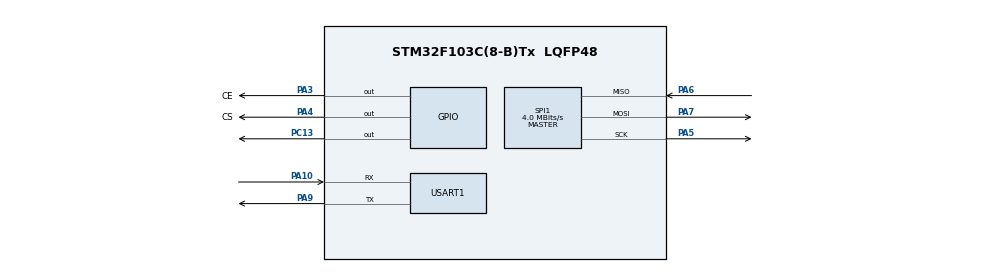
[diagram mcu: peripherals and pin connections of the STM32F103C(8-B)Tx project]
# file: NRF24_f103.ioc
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Mcu.Family=STM32F1
Mcu.Name=STM32F103C(8-B)Tx
Mcu.Package=LQFP48
NVIC.PriorityGroup=NVIC_PRIORITYGROUP_4
NVIC.USART1_IRQn=true\:0\:0\:false\:false\:true\:true
PA10.Mode=Asynchronous
PA10.Signal=USART1_RX
PA13.Mode=Serial_Wire
PA13.Signal=SYS_JTMS-SWDIO
PA14.Mode=Serial_Wire
PA14.Signal=SYS_JTCK-SWCLK
PA3.GPIO_Label=CE
PA3.Signal=GPIO_Output
PA4.GPIO_Label=CS
PA4.Signal=GPIO_Output
PA5.Mode=Full_Duplex_Master
PA5.Signal=SPI1_SCK
PA6.Mode=Full_Duplex_Master
PA6.Signal=SPI1_MISO
PA7.Mode=Full_Duplex_Master
PA7.Signal=SPI1_MOSI
PA9.Mode=Asynchronous
PA9.Signal=USART1_TX
PC13-TAMPER-RTC.Signal=GPIO_Output
PD0-OSC_IN.Mode=HSE-External-Oscillator
PD0-OSC_IN.Signal=RCC_OSC_IN
PD1-OSC_OUT.Mode=HSE-External-Oscillator
PD1-OSC_OUT.Signal=RCC_OSC_OUT
ProjectManager.HeapSize=0x200
ProjectManager.StackSize=0x800
ProjectManager.TargetToolchain=MDK-ARM V5
RCC.APB1Freq_Value=8000000
RCC.APB2Freq_Value=8000000
SPI1.CalculateBaudRate=4.0 MBits/s
SPI1.Direction=SPI_DIRECTION_2LINES
SPI1.Mode=SPI_MODE_MASTER
SPI1.VirtualType=VM_MASTER
USART1.VirtualMode=VM_ASYNC
board=custom

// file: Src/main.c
/**
  ******************************************************************************
  * @file           : main.c
  * @brief          : Main program body
  ******************************************************************************
  ** This notice applies to any and all portions of this file
  * that are not between comment pairs USER CODE BEGIN and
  * USER CODE END. Other portions of this file, whether
  * inserted by the user or by software development tools
  * are owned by their respective copyright owners.
  *
  * COPYRIGHT(c) 2021 STMicroelectronics
  *
  * Redistribution and use in source and binary forms, with or without modification,
  * are permitted provided that the following conditions are met:
  *   1. Redistributions of source code must retain the above copyright notice,
  *      this list of conditions and the following disclaimer.
  *   2. Redistributions in binary form must reproduce the above copyright notice,
  *      this list of conditions and the following disclaimer in the documentation
  *      and/or other materials provided with the distribution.
  *   3. Neither the name of STMicroelectronics nor the names of its contributors
  *      may be used to endorse or promote products derived from this software
  *      without specific prior written permission.
  *
  * THIS SOFTWARE IS PROVIDED BY THE COPYRIGHT HOLDERS AND CONTRIBUTORS "AS IS"
  * AND ANY EXPRESS OR IMPLIED WARRANTIES, INCLUDING, BUT NOT LIMITED TO, THE
  * IMPLIED WARRANTIES OF MERCHANTABILITY AND FITNESS FOR A PARTICULAR PURPOSE ARE
  * DISCLAIMED. IN NO EVENT SHALL THE COPYRIGHT HOLDER OR CONTRIBUTORS BE LIABLE
  * FOR ANY DIRECT, INDIRECT, INCIDENTAL, SPECIAL, EXEMPLARY, OR CONSEQUENTIAL
  * DAMAGES (INCLUDING, BUT NOT LIMITED TO, PROCUREMENT OF SUBSTITUTE GOODS OR
  * SERVICES; LOSS OF USE, DATA, OR PROFITS; OR BUSINESS INTERRUPTION) HOWEVER
  * CAUSED AND ON ANY THEORY OF LIABILITY, WHETHER IN CONTRACT, STRICT LIABILITY,
  * OR TORT (INCLUDING NEGLIGENCE OR OTHERWISE) ARISING IN ANY WAY OUT OF THE USE
  * OF THIS SOFTWARE, EVEN IF ADVISED OF THE POSSIBILITY OF SUCH DAMAGE.
  *
  ******************************************************************************
  */
#include "main.h"
#include "stm32f1xx_hal.h"
#include "spi.h"
#include "usart.h"
#include "gpio.h"

/* USER CODE BEGIN Includes */
#include <stdio.h>
#include <string.h>
#include "NRF24l01.h"
/* USER CODE END Includes */

/* USER CODE BEGIN PV */
/* Private variables ---------------------------------------------------------*/
struct structPackage{			// Size should not exceed 32Bytes
	uint8_t xAxis;
	uint8_t yAxis;
	uint8_t zAxis;
	uint8_t text[28];

} txPackage;

uint8_t pipeOut[] = { 0xE7, 0xE6, 0xE5, 0xE4, 0xE3 };
/* USER CODE END PV */

void SystemClock_Config(void);

/* USER CODE BEGIN PFP */
/* Private function prototypes -----------------------------------------------*/

/* USER CODE END PFP */

int main(void)
{

  /* MCU Configuration----------------------------------------------------------*/

  /* Reset of all peripherals, Initializes the Flash interface and the Systick. */
  HAL_Init();

  /* Configure the system clock */
  SystemClock_Config();

  /* Initialize all configured peripherals */
  MX_GPIO_Init();
  MX_USART1_UART_Init();
  MX_SPI1_Init();
  /* USER CODE BEGIN 2 */
// ====================== NRF24L01 Tx module setup =============================
	// Need to declare pins and ports of nrf24l01
	NRF24L01_Pins_t NRF24L01_Pins;

	NRF24L01_Pins.CE.GPIOx = GPIOA;
	NRF24L01_Pins.CE.GPIO_Pin = GPIO_PIN_3;
	NRF24L01_Pins.CSN.GPIOx = GPIOA;								// Declara pinos especificos da spi
	NRF24L01_Pins.CSN.GPIO_Pin = GPIO_PIN_4;
	NRF24L01_Pins.IRQ.GPIOx = NULL;									// Interrupt pin is not used yet
	NRF24L01_Pins.IRQ.GPIO_Pin = NULL;
	NRF24L01_Pins.MISO.GPIOx = GPIOA;
	NRF24L01_Pins.MISO.GPIO_Pin = GPIO_PIN_6;
	NRF24L01_Pins.MOSI.GPIOx = GPIOA;
	NRF24L01_Pins.MOSI.GPIO_Pin = GPIO_PIN_7;
	NRF24L01_Pins.SCK.GPIOx = GPIOA;
	NRF24L01_Pins.SCK.GPIO_Pin = GPIO_PIN_5;

	uint8_t channel = 80;											// Channel(decimal)
	uint8_t payload = sizeof(txPackage);

	/* By default 2Mbps data rate and 0dBm output power */
  NRF24L01_Init( channel, payload, &hspi1, NRF24L01_Pins );
	NRF24L01_SetRF( NRF24L01_DataRate_1M, NRF24L01_OutputPower_0dBm);

	/* Enable auto acknolodgment */
	NRF24L01_SetAutoAck(0xFF, 0);

	/* Enable CRC 2bytes */
	NRF24L01_SetCrcLength( NRF24L01_CRC_16 );

	NRF24L01_TestCarrier();

	/* Open a writing pipe with an address*/
	/* Open a reading pipe with an address*/
	NRF24L01_OpenReadingPipe(1, pipeOut);
	HAL_Delay(1);

	NRF24L01_StartListening();
	HAL_Delay(1);
// ====================== NRF24L01 Tx module setup end ==========================

	uint32_t received_at = 0;					// hold the time of last transmission

	uint32_t value = 0;

	txPackage.xAxis = 0;
	txPackage.yAxis = 0;
	txPackage.zAxis = 0;
	memset( &txPackage.text, '\0', sizeof(txPackage.text)); // clean variables

	uint8_t cont = 0;
	uint8_t strOut[256];

	HAL_GPIO_WritePin(GPIOC, GPIO_PIN_13, GPIO_PIN_SET);
	HAL_Delay(50);
	HAL_GPIO_WritePin(GPIOC, GPIO_PIN_13, GPIO_PIN_RESET);
	HAL_Delay(50);
	HAL_GPIO_WritePin(GPIOC, GPIO_PIN_13, GPIO_PIN_SET);
	HAL_Delay(50);
	HAL_GPIO_WritePin(GPIOC, GPIO_PIN_13, GPIO_PIN_RESET);
	HAL_Delay(50);
  /* USER CODE END 2 */

  /* Infinite loop */
  /* USER CODE BEGIN WHILE */
  while (1)
  {
		if( HAL_GetTick() - received_at > 2000 ){					// lost signal
			if(cont<2){
				memset( strOut, '\0', sizeof(strOut) );
				//snprintf( (char *)strOut, sizeof(strOut), "Sem sinal! \n");
				//CDC_Transmit_FS( (uint8_t*)strOut, strlen( (char *)strOut) );

				cont++;
				HAL_Delay(1);
			}
		}
		HAL_Delay(500);
		HAL_Delay(500);
		HAL_Delay(500);
		HAL_Delay(500);
		if( NRF24L01_Available( NULL ) ){
			uint8_t done = 0;

			while( !done ){
				/*
				Pay attention here
				SPITxRx function caught an error - HardFaukt Handler
				*/
				done = NRF24L01_Read(&txPackage);
				received_at = HAL_GetTick();
			}

//			memset( strOut, '\0', sizeof(strOut) );
//			snprintf( (char *)strOut, sizeof(strOut), "x: %d \n", txPackage.xAxis );
//			CDC_Transmit_FS( (uint8_t*)strOut, strlen( (char *)strOut) );
//
//			memset( strOut, '\0', sizeof(strOut) );
//			snprintf( (char *)strOut, sizeof(strOut), "y: %d \n", txPackage.yAxis );
//			CDC_Transmit_FS( (uint8_t*)strOut, strlen( (char *)strOut) );
//
//			memset( strOut, '\0', sizeof(strOut) );
//			snprintf( (char *)strOut, sizeof(strOut), "z: %d \n", txPackage.zAxis );
//			CDC_Transmit_FS( (uint8_t*)strOut, strlen( (char *)strOut) );

			memset( strOut, '\0', sizeof(strOut) );
			snprintf( (char *)strOut, sizeof(strOut), "x: %d, y: %d, z: %d \n", txPackage.xAxis, txPackage.yAxis, txPackage.zAxis );
			////CDC_Transmit_FS( (uint8_t*)strOut, strlen( (char *)strOut) );
			//CDC_Transmit_FS( txPackage.text, strlen( (char *)txPackage.text ));
			HAL_GPIO_WritePin(GPIOC, GPIO_PIN_13, GPIO_PIN_SET);
			HAL_Delay(50);
			HAL_GPIO_WritePin(GPIOC, GPIO_PIN_13, GPIO_PIN_RESET);
			HAL_Delay(50);
			// print received data

			cont = 0;

		}
		HAL_GPIO_WritePin(GPIOC, GPIO_PIN_13, GPIO_PIN_SET);

  /* USER CODE END WHILE */

  }

}

void SystemClock_Config(void)
{

  RCC_OscInitTypeDef RCC_OscInitStruct;
  RCC_ClkInitTypeDef RCC_ClkInitStruct;

    /**Initializes the CPU, AHB and APB busses clocks
    */
  RCC_OscInitStruct.OscillatorType = RCC_OSCILLATORTYPE_HSI;
  RCC_OscInitStruct.HSIState = RCC_HSI_ON;
  RCC_OscInitStruct.HSICalibrationValue = 16;
  RCC_OscInitStruct.PLL.PLLState = RCC_PLL_NONE;
  if (HAL_RCC_OscConfig(&RCC_OscInitStruct) != HAL_OK)
  {
    _Error_Handler(__FILE__, __LINE__);
  }

    /**Initializes the CPU, AHB and APB busses clocks
    */
  RCC_ClkInitStruct.ClockType = RCC_CLOCKTYPE_HCLK|RCC_CLOCKTYPE_SYSCLK
                              |RCC_CLOCKTYPE_PCLK1|RCC_CLOCKTYPE_PCLK2;
  RCC_ClkInitStruct.SYSCLKSource = RCC_SYSCLKSOURCE_HSI;
  RCC_ClkInitStruct.AHBCLKDivider = RCC_SYSCLK_DIV1;
  RCC_ClkInitStruct.APB1CLKDivider = RCC_HCLK_DIV1;
  RCC_ClkInitStruct.APB2CLKDivider = RCC_HCLK_DIV1;

  if (HAL_RCC_ClockConfig(&RCC_ClkInitStruct, FLASH_LATENCY_0) != HAL_OK)
  {
    _Error_Handler(__FILE__, __LINE__);
  }

    /**Configure the Systick interrupt time
    */
  HAL_SYSTICK_Config(HAL_RCC_GetHCLKFreq()/1000);

    /**Configure the Systick
    */
  HAL_SYSTICK_CLKSourceConfig(SYSTICK_CLKSOURCE_HCLK);

  /* SysTick_IRQn interrupt configuration */
  HAL_NVIC_SetPriority(SysTick_IRQn, 0, 0);
}

void _Error_Handler(char *file, int line)
{
  while(1)
  {
  }
}

/************************ (C) COPYRIGHT STMicroelectronics *****END OF FILE****/
